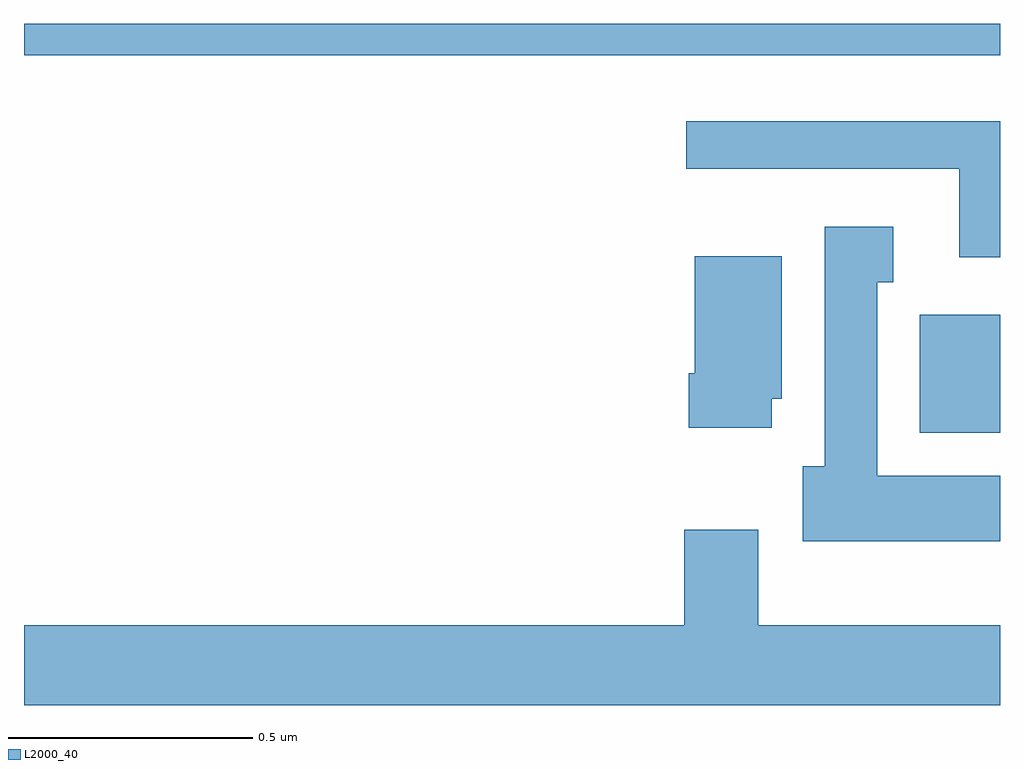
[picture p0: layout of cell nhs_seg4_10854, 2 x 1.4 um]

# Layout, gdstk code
import gdstk
lib = gdstk.Library(unit=1e-6, precision=1e-09)
def R(c, l, rs):  # rectangles x0, y0, x1, y1
    for r in rs: c.add(gdstk.rectangle(r[:2], r[2:], *l))
def P(c, l, *ps):  # polygons
    for p in ps: c.add(gdstk.Polygon(p, *l))
L2000_40 = (2000, 40)

nhs_seg4_10854 = lib.new_cell('nhs_seg4_10854')
R(nhs_seg4_10854, L2000_40, [(246.836,780.062,247,780.304), (245,780.836,247,780.9)])
P(nhs_seg4_10854, L2000_40, [(247,780.7),(246.357,780.7),(246.357,780.603),(246.917,780.603),(246.917,780.422),(247,780.422)],
  [(247,779.974),(246.748,779.974),(246.748,780.371),(246.781,780.371),(246.781,780.484),(246.641,780.484),(246.641,779.994),(246.596,779.994),(246.596,779.84),(247,779.84)],
  [(246.532,780.132),(246.553,780.132),(246.553,780.424),(246.374,780.424),(246.374,780.184),(246.362,780.184),(246.362,780.072),(246.532,780.072)],
  [(247,779.668),(246.505,779.668),(246.505,779.863),(246.353,779.863),(246.353,779.668),(245,779.668),(245,779.504),(247,779.504)])

lib.write_gds('nhs_seg4_10854.gds')
